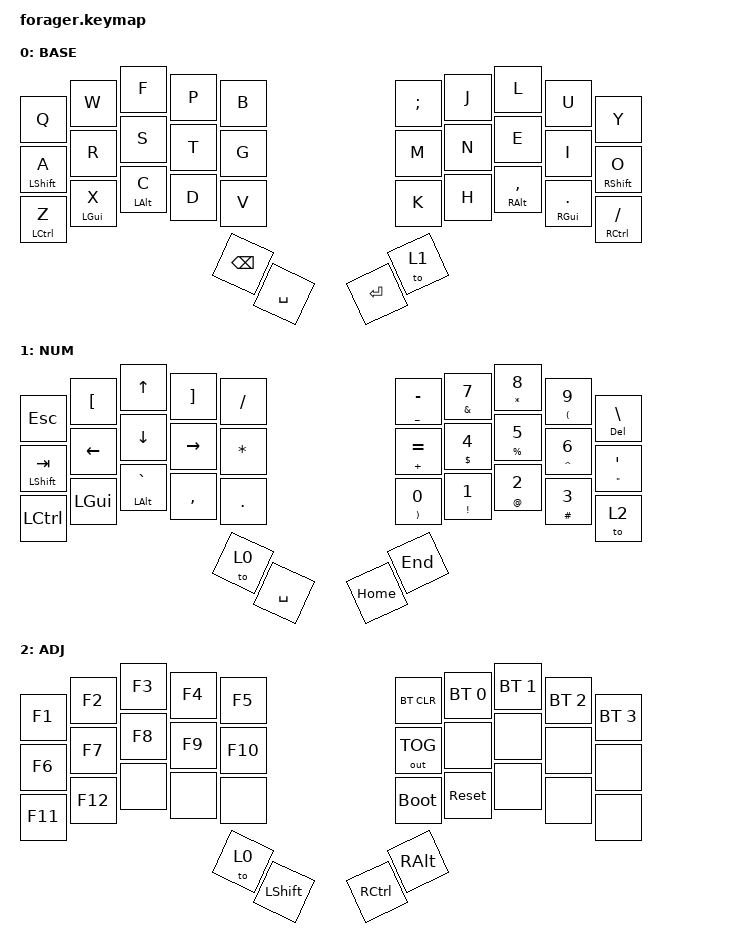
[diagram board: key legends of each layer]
/*
 * Copyright (c) 2020 The ZMK Contributors
 *
 * SPDX-License-Identifier: MIT
 */
//
//   Miryoku-style layout — Colemak-DH base, vim arrows (HJKL), GACS home row mods.
//   Adapted from the Corne (42-key) config to the Forager (34-key).
//   urob-inspired: timeless positional HRM, punctuation morphs, smart num.
//
//   Layer 0: BASE  — Colemak-DH + home row mods
//   Layer 1: NUM   — WASD Nav (left), Numpad (right) (hold right outer thumb; latching)
//   Layer 2: SYM   — symbols on left hand            (hold right RET thumb)
//   Layer 3: ADJ   — BT, output, studio, vol, reset  (hold from NUM layer)
//
//   A rendered diagram of this keymap lives at keymap-drawer/forager.svg
//   (auto-generated by the "Draw keymap" workflow).

#include <behaviors.dtsi>
#include <dt-bindings/zmk/bt.h>
#include <dt-bindings/zmk/keys.h>
#include <dt-bindings/zmk/outputs.h>

#define BASE 0
#define NUM  1
#define SYM  2
#define ADJ  3

// Forager key positions (34 keys):
// Row 0:  0  1  2  3  4     5  6  7  8  9
// Row 1: 10 11 12 13 14    15 16 17 18 19
// Row 2: 20 21 22 23 24    25 26 27 28 29
// Thumb:        30 31      32 33

#define KEYS_L 0 1 2 3 4 10 11 12 13 14 20 21 22 23 24
#define KEYS_R 5 6 7 8 9 15 16 17 18 19 25 26 27 28 29
#define THUMBS 30 31 32 33

&lt {
    flavor = "balanced";
    tapping-term-ms = <200>;
    quick-tap-ms = <175>;
};

/ {
    behaviors {
        // -- Timeless positional home row mods (urob-style) --
        // balanced + require-prior-idle + cross-hand-only trigger positions.

        hml: home_row_mod_left {
            compatible = "zmk,behavior-hold-tap";
            #binding-cells = <2>;
            flavor = "balanced";
            tapping-term-ms = <280>;
            quick-tap-ms = <175>;
            require-prior-idle-ms = <150>;
            bindings = <&kp>, <&kp>;

            hold-trigger-key-positions = <KEYS_R THUMBS>;
            hold-trigger-on-release;
        };

        hmr: home_row_mod_right {
            compatible = "zmk,behavior-hold-tap";
            #binding-cells = <2>;
            flavor = "balanced";
            tapping-term-ms = <280>;
            quick-tap-ms = <175>;
            require-prior-idle-ms = <150>;
            bindings = <&kp>, <&kp>;

            hold-trigger-key-positions = <KEYS_L THUMBS>;
            hold-trigger-on-release;
        };

        // -- Punctuation mod-morphs (urob-style) --
        // ,  -> shift: ;   ctrl+shift: <
        // .  -> shift: :   ctrl+shift: >

        comma_morph: comma_morph {
            compatible = "zmk,behavior-mod-morph";
            #binding-cells = <0>;
            bindings = <&kp COMMA>, <&comma_inner_morph>;

            mods = <(MOD_LSFT|MOD_RSFT)>;
        };

        comma_inner_morph: comma_inner_morph {
            compatible = "zmk,behavior-mod-morph";
            #binding-cells = <0>;
            bindings = <&kp SEMICOLON>, <&kp LESS_THAN>;

            mods = <(MOD_LCTL|MOD_RCTL)>;
        };

        dot_morph: dot_morph {
            compatible = "zmk,behavior-mod-morph";
            #binding-cells = <0>;
            bindings = <&kp DOT>, <&dot_inner_morph>;

            mods = <(MOD_LSFT|MOD_RSFT)>;
        };

        dot_inner_morph: dot_inner_morph {
            compatible = "zmk,behavior-mod-morph";
            #binding-cells = <0>;
            bindings = <&kp COLON>, <&kp GREATER_THAN>;

            mods = <(MOD_LCTL|MOD_RCTL)>;
        };

        // -- Num-word (urob-style, needs zmk-auto-layer module) --
        // Latches the NUM layer until a non-number key is pressed.
        // Triggered by the J+K combo so the R-outer thumb keeps an
        // instant, hold-to-repeat Backspace (&lt NUM BSPC).

        num_word: num_word {
            compatible = "zmk,behavior-auto-layer";
            #binding-cells = <1>;
            continue-list = <N0 N1 N2 N3 N4 N5 N6 N7 N8 N9 DOT COMMA MINUS PLUS ASTERISK SLASH EQUAL BSPC DEL>;
            ignore-modifiers;
        };

        as: auto_shift {
            compatible = "zmk,behavior-hold-tap";
            #binding-cells = <2>;
            tapping-term-ms = <250>;
            require-prior-idle-ms = <100>;
            flavor = "tap-preferred";
            bindings = <&kp>, <&kp>;
        };
    };

    combos {
        compatible = "zmk,combos";

        // -- From old Forager config --

        combo_esc {
            bindings = <&kp ESC>;
            key-positions = <0 1>;          // Q + W
            layers = <0>;
            timeout-ms = <30>;
            require-prior-idle-ms = <150>;
        };

        // -- Tier 1: Essential (from Corne) --

        combo_caps_word {
            bindings = <&caps_word>;
            key-positions = <13 16>;        // F + J (index home row)
            layers = <0>;
            timeout-ms = <30>;
            require-prior-idle-ms = <150>;
        };

        combo_bspc {
            bindings = <&kp BSPC>;
            key-positions = <7 8>;          // U + Y
            layers = <0>;
            timeout-ms = <30>;
            require-prior-idle-ms = <150>;
        };

        combo_del {
            bindings = <&kp DEL>;
            key-positions = <8 9>;          // Y + P
            layers = <0>;
            timeout-ms = <30>;
            require-prior-idle-ms = <150>;
        };

        // -- Tier 2: High Value (from Corne) --

        combo_tab {
            bindings = <&kp TAB>;
            key-positions = <11 12>;        // R + S
            layers = <0>;
            timeout-ms = <30>;
            require-prior-idle-ms = <150>;
        };

        combo_enter {
            bindings = <&kp RET>;
            key-positions = <17 18>;        // E + I
            layers = <0>;
            timeout-ms = <30>;
            require-prior-idle-ms = <150>;
        };

        combo_num_word {
            bindings = <&num_word NUM>;
            key-positions = <16 17>;        // N + E
            layers = <0>;
            timeout-ms = <30>;
            require-prior-idle-ms = <150>;
        };

        // -- Tier 3: Vertical Symbol Combos (from Corne) --

        combo_minus {
            bindings = <&kp MINUS>;
            key-positions = <16 26>;        // N + M
            layers = <0>;
            timeout-ms = <40>;
            require-prior-idle-ms = <100>;
        };

        combo_underscore {
            bindings = <&kp UNDER>;
            key-positions = <15 25>;        // H + N
            layers = <0>;
            timeout-ms = <40>;
            require-prior-idle-ms = <100>;
        };

        combo_equal {
            bindings = <&kp EQUAL>;
            key-positions = <13 23>;        // T + V
            layers = <0>;
            timeout-ms = <40>;
            require-prior-idle-ms = <100>;
        };

        combo_grave {
            bindings = <&kp GRAVE>;
            key-positions = <11 21>;        // R + X
            layers = <0>;
            timeout-ms = <40>;
            require-prior-idle-ms = <100>;
        };

        repeat {
            bindings = <&key_repeat>;
            key-positions = <30 31>;
            timeout-ms = <60>;
            layers = <1 0>;
        };
    };

    keymap {
        compatible = "zmk,keymap";

        base_layer {
            display-name = "BASE";
            bindings = <
&kp Q         &kp W        &kp F        &kp P          &kp B      &kp SEMI   &kp J  &kp L            &kp U          &kp Y
&hml LSHFT A  &kp R        &kp S        &kp T          &kp G      &kp M      &kp N  &kp E            &kp I          &hmr RSHFT O
&hml LCTRL Z  &hml LGUI X  &hml LALT C  &kp D          &kp V      &kp K      &kp H  &hmr RALT COMMA  &hmr RGUI DOT  &hmr RCTRL FSLH
                                        &kp BACKSPACE  &kp SPACE  &kp ENTER  &to 1
            >;
        };

        num_layer {
            display-name = "NUM";
            bindings = <
&kp ESC              &kp LBKT  &kp UP           &kp RBKT   &kp FSLH   &as UNDER MINUS  &as AMPERSAND N7     &as ASTERISK N8       &as LEFT_PARENTHESIS N9  &hmr DEL BSLH
&hml LEFT_SHIFT TAB  &kp LEFT  &kp DOWN         &kp RIGHT  &kp STAR   &as PLUS EQUAL   &as DOLLAR NUMBER_4  &as PERCENT N5        &as CARET NUMBER_6       &as DOUBLE_QUOTES SINGLE_QUOTE
&kp LCTRL            &kp LGUI  &hml LALT GRAVE  &kp COMMA  &kp DOT    &as RPAR N0      &as EXCL NUMBER_1    &as AT_SIGN NUMBER_2  &as HASH NUMBER_3        &to 2
                                                &to 0      &kp SPACE  &kp HOME         &kp END
            >;
        };

        adj_layer {
            display-name = "ADJ";
            bindings = <
&kp F1   &kp F2   &kp F3  &kp F4  &kp F5          &bt BT_CLR         &bt BT_SEL 0    &bt BT_SEL 1  &bt BT_SEL 2  &bt BT_SEL 3
&kp F6   &kp F7   &kp F8  &kp F9  &kp F10         &out OUT_TOG       &none           &none         &none         &none
&kp F11  &kp F12  &none   &none   &none           &bootloader        &sys_reset      &none         &none         &none
                          &to 0   &kp LEFT_SHIFT  &kp RIGHT_CONTROL  &kp RIGHT_ALT
            >;
        };
    };
};
